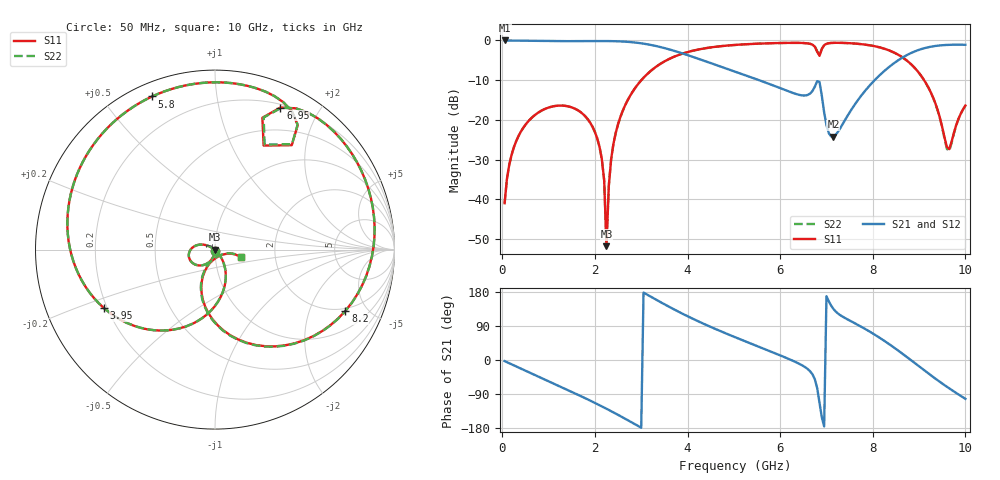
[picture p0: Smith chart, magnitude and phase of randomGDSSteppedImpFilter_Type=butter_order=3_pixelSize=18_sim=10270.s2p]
! freq	dB(S11)	phase(S11)	dB(S12)	phase(S12)
!  dB(S21)	phase(S21)	dB(S22)	phase(S22)
!S-par simulation data
#  GHz  S  DB  R 50
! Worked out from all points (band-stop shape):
!   200 points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, 50 MHz to 10 GHz, reference 50 ohm
!   highest |S21| = -0.01 dB at 50 MHz (marker M1); lowest = -24.3 dB at 7.15 GHz (marker M2)
!   |S21| within 3 dB of the highest: start of sweep to 3.819 GHz; 8.858 GHz to end of sweep
!   lowest |S11| = -51.8 dB at 2.25 GHz (marker M3), VSWR 1.01, Z = 49.8 - j0.0596 ohm
!   |S11| at or under -10 dB: start of sweep to 3.003 GHz; 9.108 GHz to end of sweep
!   |S22| runs from -51.4 to -0.6 dB; largest |S21 - S12| = 0
!   S11 on the Smith chart (normalised r, x): 50 MHz: 1.00, -0.02; 3.95 GHz: 0.19, -0.24; 5.8 GHz: 0.06, +0.67; 6.95 GHz: 0.23, +1.54; 8.2 GHz: 1.86, -3.57; 10 GHz: 1.33, -0.12
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0.05  -40.99 -93.2  -0.01 -2.9  -0.01 -2.9  -40.99 -93.2
0.2  -28.83 -102.4  -0.04 -11.4  -0.04 -11.4  -28.83 -102.4
0.55  -20.51 -121.7  -0.08 -31.0  -0.08 -31.0  -20.51 -121.7
1.75  -18.63 171.2  -0.17 -98.4  -0.17 -98.4  -18.63 171.2
2.15  -29.94 149.4  -0.15 -122.4  -0.15 -122.4  -29.94 149.7
2.2  -35.25 148.8  -0.15 -125.5  -0.15 -125.5  -35.25 149.4
2.25  -51.81 -166.5  -0.16 -128.6  -0.16 -128.6  -51.36 -164.2
2.35  -29.93 -49.3  -0.17 -135.0  -0.17 -135.0  -29.93 -49.6
2.5  -21.08 -57.1  -0.22 -144.8  -0.22 -144.8  -21.08 -57.2
3.4  -6.00 -117.3  -1.62 153.8  -1.62 153.8  -6.00 -117.3
3.95  -3.11 -152.3  -3.50 118.6  -3.50 118.6  -3.11 -152.3
5.05  -1.11 148.8  -7.96 59.0  -7.96 59.0  -1.11 148.8
5.8  -0.70 112.3  -11.12 22.2  -11.12 22.2  -0.70 112.2
6.7  -1.08 61.1  -12.70 -38.2  -12.70 -38.2  -1.07 61.1
6.85  -3.88 64.9  -10.44 -113.9  -10.44 -113.9  -3.78 64.7
6.95  -1.20 65.3  -18.11 -175.2  -18.11 -175.2  -1.18 64.9
7.15  -0.61 48.3  -24.26 134.8  -24.26 134.8  -0.61 48.0
8.2  -1.91 -25.1  -8.20 54.6  -8.20 54.6  -1.91 -25.4
8.35  -2.50 -37.2  -6.70 42.2  -6.70 42.2  -2.50 -37.5
9  -8.21 -92.1  -2.36 -16.9  -2.36 -16.9  -8.23 -92.6
9.65  -27.39 -53.2  -1.11 -74.8  -1.11 -74.8  -27.88 -52.3
10  -16.41 -16.6  -1.10 -102.5  -1.10 -102.5  -16.42 -16.1
